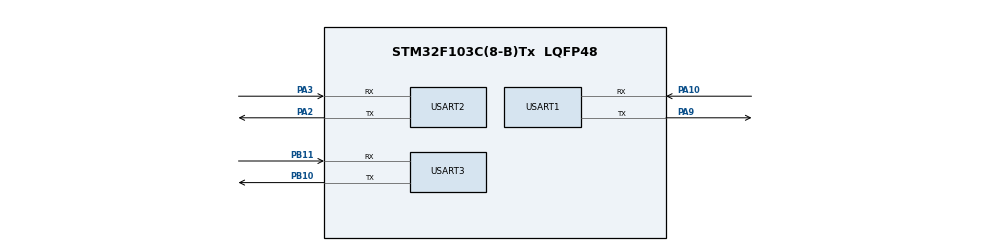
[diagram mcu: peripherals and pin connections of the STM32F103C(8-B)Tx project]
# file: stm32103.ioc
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FREERTOS.Tasks01=defaultTask,24,128,StartDefaultTask,Default,NULL,Dynamic,NULL,NULL
Mcu.Family=STM32F1
Mcu.Name=STM32F103C(8-B)Tx
Mcu.Package=LQFP48
NVIC.PriorityGroup=NVIC_PRIORITYGROUP_4
NVIC.TIM4_IRQn=true\:15\:0\:false\:false\:true\:false\:false\:true\:true
NVIC.TimeBase=TIM4_IRQn
NVIC.TimeBaseIP=TIM4
PA13.Mode=Serial_Wire
PA13.Signal=SYS_JTMS-SWDIO
PA14.Mode=Serial_Wire
PA14.Signal=SYS_JTCK-SWCLK
PA2.Mode=Asynchronous
PA2.Signal=USART2_TX
PA3.Mode=Asynchronous
PA3.Signal=USART2_RX
PA10.Mode=Asynchronous
PA10.Signal=USART1_RX
PA9.Mode=Asynchronous
PA9.Signal=USART1_TX
PB10.Mode=Asynchronous
PB10.Signal=USART3_TX
PB11.Mode=Asynchronous
PB11.Signal=USART3_RX
ProjectManager.HeapSize=0x200
ProjectManager.StackSize=0x400
ProjectManager.TargetToolchain=Makefile
RCC.APB1Freq_Value=8000000
RCC.APB2Freq_Value=8000000
USART1.VirtualMode=VM_ASYNC
USART2.VirtualMode=VM_ASYNC
USART3.VirtualMode=VM_ASYNC
VP_FREERTOS_VS_CMSIS_V2.Mode=CMSIS_V2
VP_SYS_VS_tim4.Mode=TIM4
board=custom

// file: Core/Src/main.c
/* USER CODE BEGIN Header */
/**
  ******************************************************************************
  * @file           : main.c
  * @brief          : Main program body
  ******************************************************************************
  * @attention
  *
  * Copyright (c) 2026 STMicroelectronics.
  * All rights reserved.
  *
  * This software is licensed under terms that can be found in the LICENSE file
  * in the root directory of this software component.
  * If no LICENSE file comes with this software, it is provided AS-IS.
  *
  ******************************************************************************
  */
/* USER CODE END Header */
#include "main.h"
#include "cmsis_os.h"
#include "usart.h"
#include "gpio.h"

void SystemClock_Config(void);
void MX_FREERTOS_Init(void);

int main(void)
{

  /* MCU Configuration--------------------------------------------------------*/

  /* Reset of all peripherals, Initializes the Flash interface and the Systick. */
  HAL_Init();

  /* Configure the system clock */
  SystemClock_Config();

  /* Initialize all configured peripherals */
  MX_GPIO_Init();
  MX_USART1_UART_Init();
  MX_USART2_UART_Init();
  MX_USART3_UART_Init();

  /* Init scheduler */
  osKernelInitialize();  /* Call init function for freertos objects (in cmsis_os2.c) */
  MX_FREERTOS_Init();

  /* Start scheduler */
  osKernelStart();

  /* We should never get here as control is now taken by the scheduler */

  /* Infinite loop */
  while (1)
  {

  }
}

void SystemClock_Config(void)
{
  RCC_OscInitTypeDef RCC_OscInitStruct = {0};
  RCC_ClkInitTypeDef RCC_ClkInitStruct = {0};

  /** Initializes the RCC Oscillators according to the specified parameters
  * in the RCC_OscInitTypeDef structure.
  */
  RCC_OscInitStruct.OscillatorType = RCC_OSCILLATORTYPE_HSI;
  RCC_OscInitStruct.HSIState = RCC_HSI_ON;
  RCC_OscInitStruct.HSICalibrationValue = RCC_HSICALIBRATION_DEFAULT;
  RCC_OscInitStruct.PLL.PLLState = RCC_PLL_NONE;
  if (HAL_RCC_OscConfig(&RCC_OscInitStruct) != HAL_OK)
  {
    Error_Handler();
  }

  /** Initializes the CPU, AHB and APB buses clocks
  */
  RCC_ClkInitStruct.ClockType = RCC_CLOCKTYPE_HCLK|RCC_CLOCKTYPE_SYSCLK
                              |RCC_CLOCKTYPE_PCLK1|RCC_CLOCKTYPE_PCLK2;
  RCC_ClkInitStruct.SYSCLKSource = RCC_SYSCLKSOURCE_HSI;
  RCC_ClkInitStruct.AHBCLKDivider = RCC_SYSCLK_DIV1;
  RCC_ClkInitStruct.APB1CLKDivider = RCC_HCLK_DIV1;
  RCC_ClkInitStruct.APB2CLKDivider = RCC_HCLK_DIV1;

  if (HAL_RCC_ClockConfig(&RCC_ClkInitStruct, FLASH_LATENCY_0) != HAL_OK)
  {
    Error_Handler();
  }
}

/* USER CODE BEGIN 4 */

/**
  * @brief  printf() 的底层输出函数（syscalls.c 里的 _write() 会调用它）。
  * @note   只要定义了它，工程里任何地方调用 printf() 都会从串口1(PA9)发出去。
  *         用 100 ms 超时而不是 HAL_MAX_DELAY，避免串口异常时把任务卡死。
  * @note   newlib 的 stdio 不可重入，同一时刻只让一个任务调用 printf()。
  */
int __io_putchar(int ch)
{
  uint8_t data = (uint8_t)ch;
  HAL_UART_Transmit(&huart1, &data, 1, 100);
  return ch;
}

/**
  * @brief  scanf()/getchar() 的底层输入函数，从串口1(PA10)读一个字节。
  * @retval 读到的字节；100 ms 内没数据返回 -1
  */
int __io_getchar(void)
{
  uint8_t data = 0;
  if (HAL_UART_Receive(&huart1, &data, 1, 100) != HAL_OK)
  {
    return -1;
  }
  return (int)data;
}

/* USER CODE END 4 */

void HAL_TIM_PeriodElapsedCallback(TIM_HandleTypeDef *htim)
{
  if (htim->Instance == TIM4)
  {
    HAL_IncTick();
  }
}

void Error_Handler(void)
{
  __disable_irq();
  while (1)
  {
  }
}

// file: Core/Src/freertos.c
/* USER CODE BEGIN Header */
/**
  ******************************************************************************
  * File Name          : freertos.c
  * Description        : Code for freertos applications
  ******************************************************************************
  * @attention
  *
  * Copyright (c) 2026 STMicroelectronics.
  * All rights reserved.
  *
  * This software is licensed under terms that can be found in the LICENSE file
  * in the root directory of this software component.
  * If no LICENSE file comes with this software, it is provided AS-IS.
  *
  ******************************************************************************
  */
/* USER CODE END Header */

#include "FreeRTOS.h"
#include "task.h"
#include "main.h"
#include "cmsis_os.h"

/* USER CODE BEGIN Includes */
#include <stdio.h>
#include "usart.h"              /* huart1 / huart2 / hdma_usart1_rx / hdma_usart2_rx */
#include "demo_config.h"        /* demo 自己的开关（框架参数见 library/esp_net_config.h） */
#include "esp_net.h"            /* 框架 API：esp_net_init / esp_net_task ... */
#include "esp_net_config.h"     /* 框架参数（ESP_PROV_ENABLE / ESP_LOG ...） */
#include "esp_port_stm32f1.h"   /* 移植层实例 esp_port_stm32f1 */
#include "demo_app.h"           /* demo_app_task() */
/* USER CODE END Includes */

/* USER CODE BEGIN PD */
/* 联网任务栈：512 字 = 2048 字节。
   这个任务里要跑 snprintf、strstr、MQTT 报文解析，留足余量。
   注意 FreeRTOS 堆（configTOTAL_HEAP_SIZE）只有 3072 B，且已被 defaultTask /
   timer 任务占去大半，所以本任务必须**静态分配**（见下面的 StaticTask_t）。 */
#define NET_TASK_STACK_WORDS     512U
/* demo 任务栈：256 字 = 1024 字节，只做 snprintf + 入队，够用 */
#define DEMO_TASK_STACK_WORDS    256U
/* USER CODE END PD */

/* USER CODE BEGIN Variables */

/* ---- 联网任务（静态分配的栈 + TCB）---- */
static StaticTask_t netTaskCb;
static StackType_t  netTaskStack[NET_TASK_STACK_WORDS];

osThreadId_t netTaskHandle;
const osThreadAttr_t netTask_attributes = {
  .name = "netTask",
  .cb_mem = &netTaskCb,
  .cb_size = sizeof(netTaskCb),
  .stack_mem = &netTaskStack[0],
  .stack_size = sizeof(netTaskStack),
  .priority = (osPriority_t) osPriorityNormal,
};

/* ---- demo 业务任务（静态分配；业务与联网任务分开，互不干扰）---- */
static StaticTask_t demoTaskCb;
static StackType_t  demoTaskStack[DEMO_TASK_STACK_WORDS];

osThreadId_t demoTaskHandle;
const osThreadAttr_t demoTask_attributes = {
  .name = "demoTask",
  .cb_mem = &demoTaskCb,
  .cb_size = sizeof(demoTaskCb),
  .stack_mem = &demoTaskStack[0],
  .stack_size = sizeof(demoTaskStack),
  .priority = (osPriority_t) osPriorityNormal,
};

#if APP_BRIDGE_DEBUG_ENABLE
/* ============================================================================
   以下是「备用调试方案」专用的数据：USART1 ↔ USART2 原始双向透传。
   联网任务跑不通时，把 demo_config.h 里的 APP_BRIDGE_DEBUG_ENABLE 改成 1，
   就可以用串口助手手工敲 AT 指令直接跟 ESP8266 对话。
   ========================================================================= */

/* 串口2 的 DMA 循环接收缓冲（ESP8266 → 电脑）；rx2LastPos 记录上次取走的写指针 */
static uint8_t  rx2DmaBuffer[BRIDGE_RX_BUFFER_SIZE];
static uint16_t rx2LastPos = 0U;

#if BRIDGE_TO_ESP_ENABLE
/* 串口1 的 DMA 循环接收缓冲（电脑 → ESP8266）；rx1LastPos 同上 */
static uint8_t  rx1DmaBuffer[BRIDGE_RX_BUFFER_SIZE];
static uint16_t rx1LastPos = 0U;
#endif

#if BRIDGE_OUTPUT_HEX
/* 十六进制打印用的行缓冲（每行 16 字节 × 3 字符 + CRLF） */
static char bridgeHexLine[3U * 16U + 2U];
#endif

#if (BRIDGE_REPORT_PERIOD_MS > 0U)
static uint32_t debugReportCount = 0U;
static uint32_t debugLastReport  = 0U;
#endif
static uint32_t rx2TotalBytes    = 0U;
static uint32_t rx2BurstCount    = 0U;
#if BRIDGE_TO_ESP_ENABLE
static uint32_t rx1TotalBytes    = 0U;
static uint32_t rx1BurstCount    = 0U;
#endif
#endif /* APP_BRIDGE_DEBUG_ENABLE */

/* USER CODE END Variables */
/* Definitions for defaultTask */
osThreadId_t defaultTaskHandle;
const osThreadAttr_t defaultTask_attributes = {
  .name = "defaultTask",
  .stack_size = 128 * 4,
  .priority = (osPriority_t) osPriorityNormal,
};

/* USER CODE BEGIN FunctionPrototypes */

#if APP_BRIDGE_DEBUG_ENABLE
static void BridgeWriteUart(UART_HandleTypeDef *dst, const uint8_t *p, uint16_t len, uint8_t hex);
static void BridgePump(DMA_HandleTypeDef *hdma, const uint8_t *buf, uint16_t size,
                       uint16_t *lastPos, UART_HandleTypeDef *dst, uint8_t hex,
                       uint32_t *totalBytes, uint32_t *burstCount);
static void StartBridgeDebugLoop(void);
#endif
/* USER CODE END FunctionPrototypes */

void StartDefaultTask(void *argument);

void MX_FREERTOS_Init(void); /* (MISRA C 2004 rule 8.1) */

void MX_FREERTOS_Init(void) {
  /* USER CODE BEGIN Init */
  /* 关闭 stdio 缓冲：printf 就不会去 malloc（链接脚本里的堆只有 0x200） */
  setvbuf(stdout, NULL, _IONBF, 0);

  /* ---- 启动串口接收 ----
     放在这里（调度器启动之前）是为了不让上电后最早到的数据丢掉。 */
#if APP_BRIDGE_DEBUG_ENABLE
  /* 备用调试方案：两个方向的原始透传，两条 DMA 循环接收都要开 */
  if (HAL_UART_Receive_DMA(&huart2, rx2DmaBuffer, BRIDGE_RX_BUFFER_SIZE) != HAL_OK)
  {
    Error_Handler();
  }
#if BRIDGE_TO_ESP_ENABLE
  if (HAL_UART_Receive_DMA(&huart1, rx1DmaBuffer, BRIDGE_RX_BUFFER_SIZE) != HAL_OK)
  {
    Error_Handler();
  }
#endif
  /* 本项目靠任务轮询写指针取数据，不用 DMA 中断；关掉，免得中断标志悬空没人处理。 */
  __HAL_DMA_DISABLE_IT(&hdma_usart2_rx, DMA_IT_TC | DMA_IT_HT | DMA_IT_TE);
  CLEAR_BIT(huart2.Instance->CR3, USART_CR3_EIE);
#if BRIDGE_TO_ESP_ENABLE
  __HAL_DMA_DISABLE_IT(&hdma_usart1_rx, DMA_IT_TC | DMA_IT_HT | DMA_IT_TE);
  CLEAR_BIT(huart1.Instance->CR3, USART_CR3_EIE);
#endif
#else
  /* 正常联网模式：绑定移植层 + 启动串口接收（DMA 循环 + 空闲中断喂数据） */
  esp_net_init(&esp_port_stm32f1);
#if ESP_PROV_ENABLE
  /* 上电触发配网：若此刻 PB6 已按住（低电平），开机就直接进配网，不再尝试旧 WiFi。
     放在 esp_net_init() **之后**：init 里会把配网标志清零，这里再置位才有效。 */
  if (HAL_GPIO_ReadPin(WIFI_CFG_GPIO_Port, WIFI_CFG_Pin) == GPIO_PIN_RESET)
  {
    HAL_Delay(30U);   /* 简单消抖：30 ms 后仍为低才算真按下 */
    if (HAL_GPIO_ReadPin(WIFI_CFG_GPIO_Port, WIFI_CFG_Pin) == GPIO_PIN_RESET)
    {
      ESP_LOG("[net] PB6 held at boot -> provisioning\r\n");
      esp_net_request_config();
    }
  }
#endif
#endif
  /* USER CODE END Init */

  /* Create the thread(s) */
  /* creation of defaultTask */
  defaultTaskHandle = osThreadNew(StartDefaultTask, NULL, &defaultTask_attributes);

  /* USER CODE BEGIN RTOS_THREADS */
  /* 联网任务（框架内部死循环：连 WiFi→TCP→MQTT→收发保活，断线自愈） */
  netTaskHandle = osThreadNew(esp_net_task, NULL, &netTask_attributes);
#if !APP_BRIDGE_DEBUG_ENABLE
  /* demo 业务任务：与联网任务解耦，自己做自己的周期上报 */
  demoTaskHandle = osThreadNew(demo_app_task, NULL, &demoTask_attributes);
#endif
  /* USER CODE END RTOS_THREADS */

}

void StartDefaultTask(void *argument)
{
  for(;;)
  {
    osDelay(1);
  }
}

/* USER CODE BEGIN Application */

#if APP_BRIDGE_DEBUG_ENABLE
/* ============================================================================
   备用调试方案：串口2(PA2/PA3) ↔ 串口1(PA9/PA10) 原始双向透传
     方向 A：ESP8266 发 → 串口2 RX(DMA1_Ch6) → 串口1 TX(PA9)，在电脑上看
     方向 B：电脑发   → 串口1 RX(DMA1_Ch5) → 串口2 TX(PA2)，即给 ESP8266 发 AT 指令
   ========================================================================= */

/**
  * @brief  把一段数据写到目标串口。
  * @param  dst: 目标串口（&huart1 = 发给电脑，&huart2 = 发给 ESP8266）
  * @param  p: 数据首地址   len: 字节数
  * @param  hex: 仅在 BRIDGE_OUTPUT_HEX=1 时有效：1=转成十六进制打印，0=原样
  */
static void BridgeWriteUart(UART_HandleTypeDef *dst, const uint8_t *p, uint16_t len, uint8_t hex)
{
#if BRIDGE_OUTPUT_HEX
  if (hex != 0U)
  {
    static const char hexDigits[] = "0123456789ABCDEF";
    char *out = bridgeHexLine;
    uint8_t n = 0U;
    uint16_t i;

    for (i = 0U; i < len; i++)
    {
      *out++ = hexDigits[(p[i] >> 4) & 0x0FU];
      *out++ = hexDigits[p[i] & 0x0FU];
      *out++ = ' ';
      if (++n == 16U)
      {
        *out++ = '\r';
        *out++ = '\n';
        HAL_UART_Transmit(dst, (uint8_t *)bridgeHexLine, (uint16_t)(out - bridgeHexLine), 1000U);
        out = bridgeHexLine;
        n = 0U;
      }
    }
    if (n > 0U)
    {
      *out++ = '\r';
      *out++ = '\n';
      HAL_UART_Transmit(dst, (uint8_t *)bridgeHexLine, (uint16_t)(out - bridgeHexLine), 1000U);
    }
    return;
  }
#else
  (void)hex;
#endif
  /* 原样转发：整段一次性发出去，比逐字节 printf 快得多 */
  HAL_UART_Transmit(dst, (uint8_t *)p, len, 1000U);
}

/**
  * @brief  取走"某个 DMA 循环缓冲里这段时间新到的"数据，转发到目标串口。
  * @note   CNDTR 从 size 递减到 0 再自动重装，所以 pos = size - CNDTR 就是
  *         DMA 当前的写指针（0 .. size-1）；[lastPos, pos) 即新到的数据，
  *         pos < lastPos 说明回绕了，分两段取。
  */
static void BridgePump(DMA_HandleTypeDef *hdma, const uint8_t *buf, uint16_t size,
                       uint16_t *lastPos, UART_HandleTypeDef *dst, uint8_t hex,
                       uint32_t *totalBytes, uint32_t *burstCount)
{
  uint16_t pos = (uint16_t)(size - __HAL_DMA_GET_COUNTER(hdma));

  if (pos == *lastPos)
  {
    return;
  }

  if (pos > *lastPos)
  {
    /* 没回绕：取 [lastPos, pos) */
    BridgeWriteUart(dst, &buf[*lastPos], (uint16_t)(pos - *lastPos), hex);
    if (totalBytes != NULL)
    {
      *totalBytes += (uint32_t)(pos - *lastPos);
    }
  }
  else
  {
    /* 回绕了：先取到缓冲末尾，再从头取到 pos */
    BridgeWriteUart(dst, &buf[*lastPos], (uint16_t)(size - *lastPos), hex);
    if (pos > 0U)
    {
      BridgeWriteUart(dst, buf, pos, hex);
    }
    if (totalBytes != NULL)
    {
      *totalBytes += (uint32_t)(size - *lastPos) + (uint32_t)pos;
    }
  }
  *lastPos = pos;
  if (burstCount != NULL)
  {
    (*burstCount)++;
  }
}

/**
  * @brief  透传调试主循环（不返回）
  *         1) 串口2 经 DMA 循环收到的 ESP8266 数据 → 串口1，在电脑上看；
  *         2) 电脑从串口1 发的字节 → 串口2 TX，即给 ESP8266 发 AT 指令；
  *         3) 可选：周期心跳。
  */
static void StartBridgeDebugLoop(void)
{
  /* ---------------- 上电横幅 ---------------- */
  printf("\r\n");
  printf("============================================\r\n");
  printf("  stm32103 | STM32F103C8T6 | uart bridge (debug fallback)\r\n");
  printf("  USART2 : PA2(TX) / PA3(RX) <--DMA ch6--> USART1\r\n");
#if BRIDGE_TO_ESP_ENABLE
  printf("  USART1 : PA9(TX) / PA10(RX) <--DMA ch5--> USART2  (双向透传)\r\n");
#else
  printf("  USART1 : PA9(TX) / PA10(RX)  115200 8-N-1  (单向转发)\r\n");
#endif
  printf("  build  : %s %s\r\n", __DATE__, __TIME__);
  printf("  SYSCLK : %lu Hz   heap_free: %u B\r\n",
         (unsigned long)HAL_RCC_GetSysClockFreq(),
         (unsigned int)xPortGetFreeHeapSize());
  printf("  tip    : 用串口助手直接敲 AT 指令（如 AT+GMR）\r\n");
  printf("============================================\r\n");

  /* ---------------- 主循环 ---------------- */
  for (;;)
  {
    /* ---- 1) 串口2 → 串口1：ESP8266 的输出转发给电脑 ---- */
    BridgePump(&hdma_usart2_rx, rx2DmaBuffer, BRIDGE_RX_BUFFER_SIZE, &rx2LastPos,
               &huart1, BRIDGE_OUTPUT_HEX, &rx2TotalBytes, &rx2BurstCount);

    /* ---- 2) 串口1 → 串口2：电脑发来的按键/AT 指令转发给 ESP8266 ---- */
#if BRIDGE_TO_ESP_ENABLE
    BridgePump(&hdma_usart1_rx, rx1DmaBuffer, BRIDGE_RX_BUFFER_SIZE, &rx1LastPos,
               &huart2, 0U, &rx1TotalBytes, &rx1BurstCount);
#endif

    /* ---- 3) 周期心跳（BRIDGE_REPORT_PERIOD_MS = 0 时整段不编译）---- */
#if (BRIDGE_REPORT_PERIOD_MS > 0U)
    if ((HAL_GetTick() - debugLastReport) >= BRIDGE_REPORT_PERIOD_MS)
    {
      debugLastReport = HAL_GetTick();
      debugReportCount++;
      printf("\r\n[%6lu ms] alive #%lu | usart2_rx=%lu B / %lu bursts"
#if BRIDGE_TO_ESP_ENABLE
             " | usart1_rx=%lu B / %lu bursts"
#endif
             " | heap_free=%u B | tasks=%u\r\n",
             (unsigned long)HAL_GetTick(),
             (unsigned long)debugReportCount,
             (unsigned long)rx2TotalBytes,
             (unsigned long)rx2BurstCount,
#if BRIDGE_TO_ESP_ENABLE
             (unsigned long)rx1TotalBytes,
             (unsigned long)rx1BurstCount,
#endif
             (unsigned int)xPortGetFreeHeapSize(),
             (unsigned int)uxTaskGetNumberOfTasks());
    }
#endif

    osDelay(BRIDGE_POLL_MS);
  }
}
#endif /* APP_BRIDGE_DEBUG_ENABLE */

/* USER CODE END Application */
